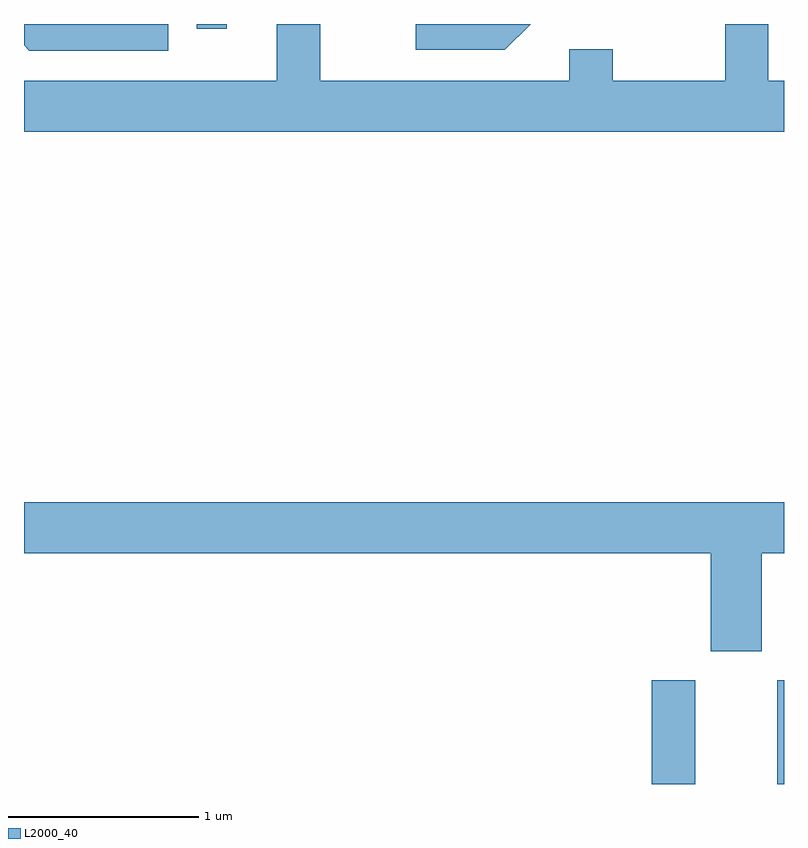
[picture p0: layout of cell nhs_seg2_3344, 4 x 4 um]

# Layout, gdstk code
import gdstk
lib = gdstk.Library(unit=1e-6, precision=1e-09)
def R(c, l, rs):  # rectangles x0, y0, x1, y1
    for r in rs: c.add(gdstk.rectangle(r[:2], r[2:], *l))
def P(c, l, *ps):  # polygons
    for p in ps: c.add(gdstk.Polygon(p, *l))
L2000_40 = (2000, 40)

nhs_seg2_3344 = lib.new_cell('nhs_seg2_3344')
R(nhs_seg2_3344, L2000_40, [(286.916,1013.802,287.144,1014.349), (287.576,1013.802,287.611,1014.349), (284.521,1017.778,284.679,1017.802)])
P(nhs_seg2_3344, L2000_40, [(287.611,1017.504),(287.529,1017.504),(287.529,1017.802),(287.301,1017.802),(287.301,1017.504),(286.709,1017.504),(286.709,1017.669),(286.481,1017.669),(286.481,1017.504),(285.169,1017.504),(285.169,1017.802),(284.941,1017.802),(284.941,1017.504),(283.611,1017.504),(283.611,1017.236),(287.611,1017.236)],
  [(286.277,1017.802),(285.673,1017.802),(285.673,1017.666),(286.142,1017.666)],
  [(284.369,1017.802),(283.611,1017.802),(283.611,1017.689),(283.639,1017.661),(284.369,1017.661)],
  [(287.494,1015.016),(287.611,1015.016),(287.611,1015.284),(283.611,1015.284),(283.611,1015.016),(287.226,1015.016),(287.226,1014.501),(287.494,1014.501)])

lib.write_gds('nhs_seg2_3344.gds')
